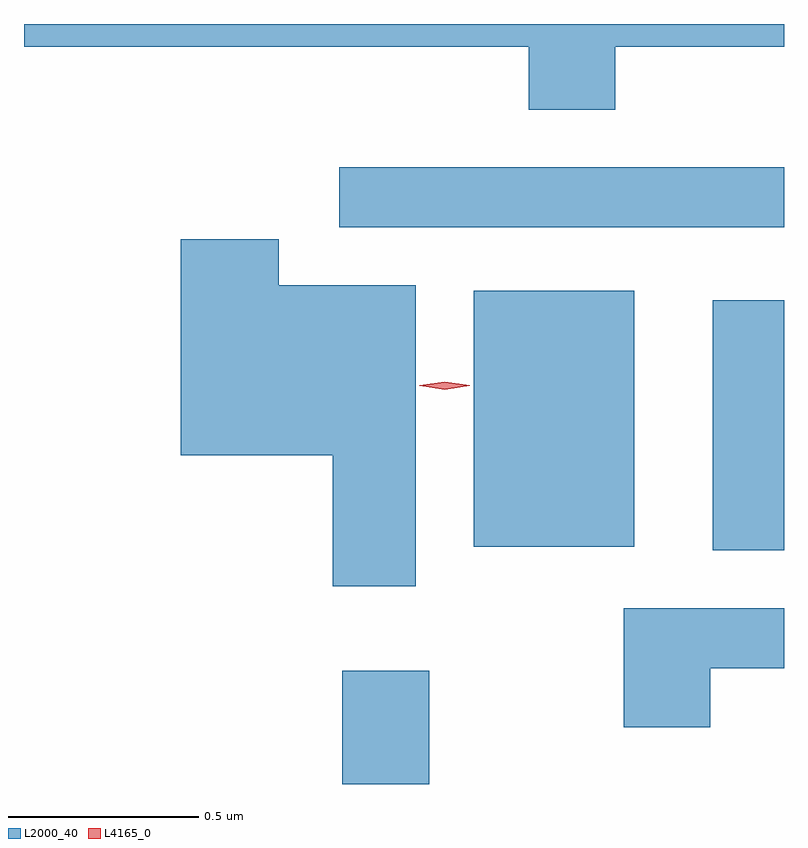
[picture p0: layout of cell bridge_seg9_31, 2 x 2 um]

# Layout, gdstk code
import gdstk
lib = gdstk.Library(unit=1e-6, precision=1e-09)
def R(c, l, rs):  # rectangles x0, y0, x1, y1
    for r in rs: c.add(gdstk.rectangle(r[:2], r[2:], *l))
def P(c, l, *ps):  # polygons
    for p in ps: c.add(gdstk.Polygon(p, *l))
L2000_40 = (2000, 40)
L4165_0 = (4165, 0)

bridge_seg9_31 = lib.new_cell('bridge_seg9_31')
R(bridge_seg9_31, L2000_40, [(1557.311,2078.676,1557.539,2078.974), (1558.286,2079.291,1558.473,2079.949), (1557.656,2079.301,1558.079,2079.974), (1557.303,2080.141,1558.473,2080.299)])
P(bridge_seg9_31, L2000_40, [(1558.029,2080.616),(1558.473,2080.616),(1558.473,2080.676),(1556.473,2080.676),(1556.473,2080.616),(1557.801,2080.616),(1557.801,2080.451),(1558.029,2080.451)],
  [(1557.504,2079.989),(1557.144,2079.989),(1557.144,2080.109),(1556.886,2080.109),(1556.886,2079.541),(1557.286,2079.541),(1557.286,2079.196),(1557.504,2079.196)],
  [(1558.279,2078.981),(1558.473,2078.981),(1558.473,2079.139),(1558.051,2079.139),(1558.051,2078.826),(1558.279,2078.826)])
P(bridge_seg9_31, L4165_0, [(1557.58,2079.714),(1557.514,2079.724),(1557.513,2079.724),(1557.514,2079.725),(1557.58,2079.734),(1557.646,2079.725),(1557.646,2079.724),(1557.646,2079.724)])

lib.write_gds('bridge_seg9_31.gds')
